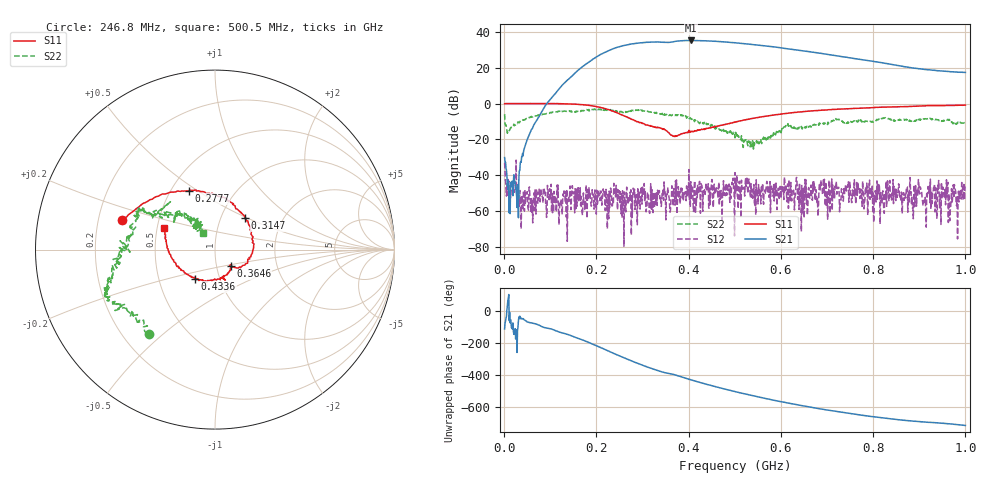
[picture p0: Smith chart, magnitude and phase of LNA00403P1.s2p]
! Created with skrf 1.9.0 (http://scikit-rf.org).
# Hz S RI R 50.0
!freq ReS11 ImS11 ReS21 ImS21 ReS12 ImS12 ReS22 ImS22
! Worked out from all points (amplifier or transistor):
!   1001 points, 1 MHz to 1 GHz, reference 50 ohm
!   highest |S21| = 35.1 dB at 404.6 MHz (marker M1)
!   |S21| within 3 dB of that: 256.6 MHz to 565.6 MHz (309 MHz wide, 75.2 % of centre)
!   unconditionally stable (mu >= 1): 215 MHz to 237.6 MHz; 238.1 MHz to 400.3 MHz; 400.8 MHz to end of sweep (the widest 3 of 35)
!   at 166.8 MHz: K = 2.01, MAG = 30.1 dB, |S12| = -51.7 dB
!   at 500.5 MHz: K = 1.02, MAG = 35.2 dB, |S12| = -38.4 dB
!   at 1 GHz: K = 2.62, MAG = 24.7 dB, |S12| = -46.1 dB
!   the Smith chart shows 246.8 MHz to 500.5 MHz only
!   S11 on the Smith chart (normalised r, x): 246.8 MHz: 0.30, +0.14; 277.7 MHz: 0.61, +0.46; 314.7 MHz: 1.30, +0.48; 364.6 MHz: 1.17, -0.22; 433.6 MHz: 0.76, -0.26; 500.5 MHz: 0.54, +0.15
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1000000  0.9919 0.00649  -0.0111 -0.0294  -0.0156 0.016  0.3706 0.347
1.08892e8  0.5286 -0.8452  -0.8368 -1.569  -0.00179 0.000495  0.4375 -0.3882
1.67833e8  -0.2157 -0.9049  -10.12 -0.5426  -0.000897 -0.00079  0.0269 -0.6374
2.11789e8  -0.6672 -0.3679  -15.53 18.47  0.00113 0.000966  -0.2112 -0.6279
2.46754e8  -0.5159 0.1631  3.075 37.11  -0.00384 -0.00117  -0.3673 -0.4688
2.77723e8  -0.1464 0.327  30.83 34.03  -0.00015 -0.000678  -0.5737 -0.3012
2.96704e8  0.0506 0.2903  43.46 22.06  -0.00299 0.0037  -0.6139 -0.2272
3.14686e8  0.1676 0.1747  50.44 6.597  -0.000919 1.25e-05  -0.5687 -0.1348
3.34666e8  0.2154 0.013  50.36 -10.63  -0.000706 0.00265  -0.5176 -0.0205
3.64636e8  0.0866 -0.0931  43.3 -28.32  0.00293 0.00342  -0.4739 0.1316
3.8062e8  0.0857 -0.105  38.52 -40.05  0.00233 0.00108  -0.4198 0.2163
4.04596e8  0.029 -0.1667  21.48 -52.63  -0.000773 0.00665  -0.3139 0.204
4.33567e8  -0.1112 -0.1627  -1.322 -55.34  0.000485 0.00356  -0.1981 0.2155
4.65535e8  -0.2301 -0.0579  -23.56 -47.53  0.0064 -0.00112  -0.0903 0.1754
5.005e8  -0.285 0.1231  -38.52 -30.66  0.0109 0.00504  -0.0644 0.091
5.39461e8  -0.2249 0.318  -42.69 -9.547  0.00229 0.000271  -0.0878 -0.00402
5.85415e8  -0.0483 0.4787  -36.13 10.27  0.00117 -0.00155  -0.1282 -0.0402
6.25375e8  0.1359 0.542  -25.08 19.7  0.00345 0.000127  -0.2094 -0.1023
6.67333e8  0.332 0.5297  -13.3 23.33  0.000956 -0.00199  -0.245 -0.0389
7.49251e8  0.6152 0.3743  2.426 18.55  -0.00129 -0.00633  -0.2934 0.0628
8.34166e8  0.7867 0.1418  8.113 9.683  -9.4e-05 0.00191  -0.3551 0.1386
1e9  0.8111 -0.3937  7.282 0.9449  -0.00384 -0.0031  -0.051 0.2835
